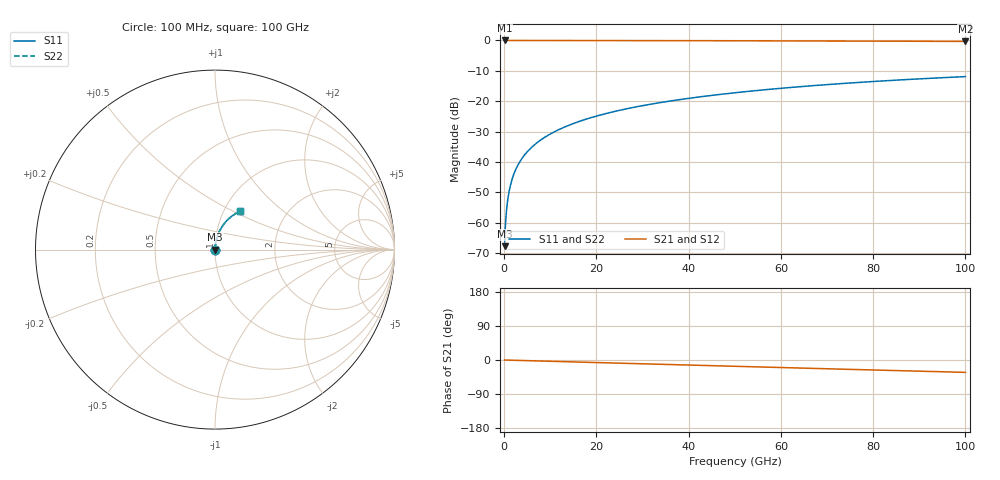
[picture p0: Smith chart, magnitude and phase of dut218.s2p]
! Touchstone file exported from HFSS 2026.1.0
!  File:  C:/ffzhzh/LocalFiles/Ansys_Project_Files/temp_train_TSV_218_1783507760_55944.aedt
!  Generated:  06:50:34 PM Jul  8, 2026
!  Design:  TSV
!  Project:  temp_train_TSV_218_1783507760_55944
! Variables:
!  h_bsmrdl = 2um
!  h_ox = 20um
!  h_rdl = 5um
!  h_sub = 53.32um
!  h_tmrdl = 5um
!  h_tsv = 53.32um
!  h_via = 3um
!  l_bsmrdl = 300um
!  l_sub = 410.34um
!  l_tmrdl = 200um
!  m_sub = 200um
!  pitch = 43.78um
!  r_tsv = 5.17um
!  s_tmrdl = 10um
!  w_bsmrdl = 18um
!  w_sub = 500um
!  w_tmrdl = 12um
!  x_tsv_center1 = 206um
!  x_tsv_center2 = 524um
!  x_tsv_center3 = 736um
!  x_tsv_center4 = 1054um
!  x_tsv_center5 = 1266um
!  x_tsv_center6 = 1584um
# GHz S MA R 50.000000
! Terminal data exported
! Port[1] = TSV1_1_T1
! Port[2] = TSV1_1_T2
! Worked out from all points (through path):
!   1000 points, 100 MHz to 100 GHz, reference 50 ohm
!   highest |S21| = 0.00 dB at 100 MHz (marker M1); lowest = -0.3 dB at 100 GHz (marker M2)
!   group delay of S21, straight-line fit = 907 fs
!   lowest |S11| = -67.7 dB at 100 MHz (marker M3), VSWR 1.00, Z = 50 + j0.0318 ohm
!   |S11| at or under -10 dB: start of sweep to end of sweep
!   |S22| runs from -67.7 to -11.9 dB; largest |S21 - S12| = 4e-15
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0.1  0.0004127 50.4  0.9997 -0.0  0.9997 -0.0  0.0004127 50.4
! Gamma 0 0 0 0
! Port Impedance 50 0 50 0
0.4  0.00126 76.6  0.9997 -0.1  0.9997 -0.1  0.00126 76.6
0.7  0.002151 81.6  0.9997 -0.2  0.9997 -0.2  0.002151 81.6
0.8  0.002449 82.4  0.9997 -0.3  0.9997 -0.3  0.002449 82.4
1.1  0.003347 83.9  0.9997 -0.4  0.9997 -0.4  0.003347 83.9
1.4  0.004243 84.7  0.9996 -0.5  0.9996 -0.5  0.004243 84.7
1.9  0.005728 85.3  0.9996 -0.7  0.9996 -0.7  0.005728 85.3
2.4  0.007201 85.5  0.9995 -0.8  0.9995 -0.8  0.007201 85.5
3  0.008952 85.6  0.9994 -1.0  0.9994 -1.0  0.008952 85.6
3.8  0.01127 85.6  0.9993 -1.3  0.9993 -1.3  0.01127 85.6
4.8  0.01413 85.5  0.9992 -1.6  0.9992 -1.6  0.01413 85.5
5.9  0.01727 85.4  0.9991 -2.0  0.9991 -2.0  0.01727 85.4
8.8  0.0255 84.8  0.9987 -3.0  0.9987 -3.0  0.0255 84.8
12.4  0.03567 83.9  0.9982 -4.2  0.9982 -4.2  0.03567 83.9
16.8  0.04802 82.7  0.9975 -5.7  0.9975 -5.7  0.04802 82.7
24.2  0.0686 80.5  0.996 -8.1  0.996 -8.1  0.0686 80.5
33.4  0.0938 77.7  0.9937 -11.2  0.9937 -11.2  0.0938 77.7
41.2  0.1147 75.2  0.9913 -13.8  0.9913 -13.8  0.1147 75.2
50.1  0.1381 72.4  0.9881 -16.7  0.9881 -16.7  0.1381 72.4
66.7  0.1798 67.1  0.9811 -22.1  0.9811 -22.1  0.1798 67.1
83.4  0.2189 61.9  0.9729 -27.4  0.9729 -27.4  0.2189 61.9
100  0.2543 56.7  0.964 -32.6  0.964 -32.6  0.2543 56.7
